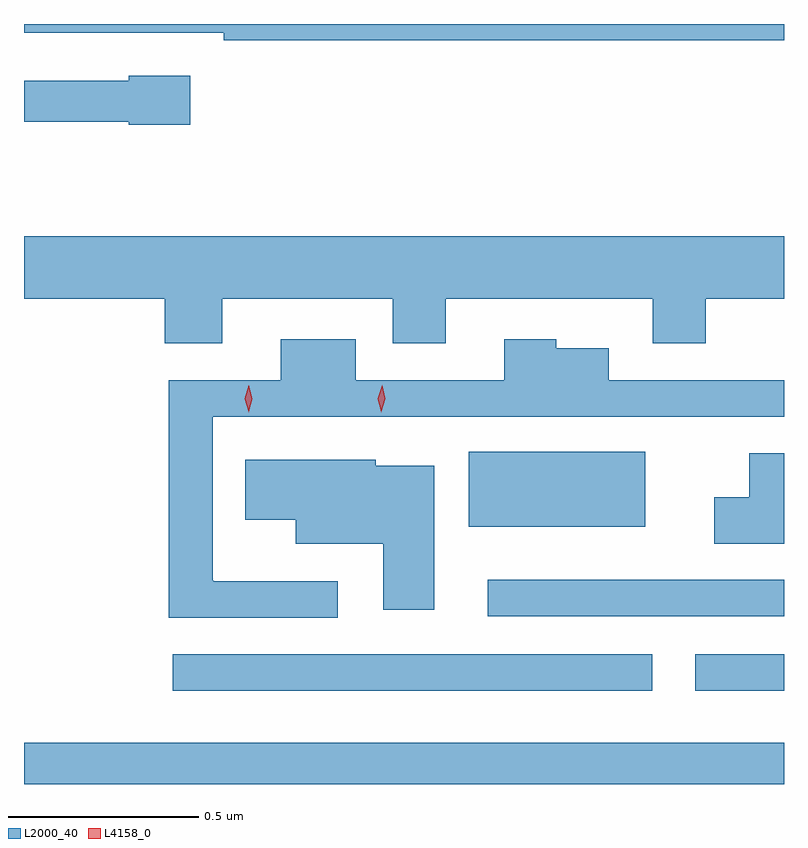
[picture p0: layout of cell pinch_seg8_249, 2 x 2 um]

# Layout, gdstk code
import gdstk
lib = gdstk.Library(unit=1e-6, precision=1e-09)
def R(c, l, rs):  # rectangles x0, y0, x1, y1
    for r in rs: c.add(gdstk.rectangle(r[:2], r[2:], *l))
def P(c, l, *ps):  # polygons
    for p in ps: c.add(gdstk.Polygon(p, *l))
L2000_40 = (2000, 40)
L4158_0 = (4158, 0)

pinch_seg8_249 = lib.new_cell('pinch_seg8_249')
R(pinch_seg8_249, L2000_40, [(832.849,1119.219,834.849,1119.328), (833.241,1119.464,834.502,1119.561), (834.615,1119.464,834.849,1119.561), (834.02,1119.896,834.484,1120.093)])
P(pinch_seg8_249, L2000_40, [(834.849,1121.219),(832.849,1121.219),(832.849,1121.196),(833.374,1121.196),(833.374,1121.176),(834.849,1121.176)],
  [(833.287,1121.083),(833.124,1121.083),(833.124,1121.07),(832.849,1121.07),(832.849,1120.962),(833.124,1120.962),(833.124,1120.954),(833.287,1120.954)],
  [(833.371,1120.496),(833.819,1120.496),(833.819,1120.379),(833.959,1120.379),(833.959,1120.496),(834.503,1120.496),(834.503,1120.379),(834.643,1120.379),(834.643,1120.496),(834.849,1120.496),(834.849,1120.66),(832.849,1120.66),(832.849,1120.496),(833.219,1120.496),(833.219,1120.379),(833.371,1120.379)],
  [(833.674,1119.753),(833.348,1119.753),(833.348,1119.754),(833.346,1119.754),(833.346,1120.185),(834.849,1120.185),(834.849,1120.281),(834.388,1120.281),(834.388,1120.366),(834.249,1120.366),(834.249,1120.39),(834.113,1120.39),(834.113,1120.281),(833.722,1120.281),(833.722,1120.39),(833.525,1120.39),(833.525,1120.281),(833.23,1120.281),(833.23,1119.657),(833.674,1119.657)],
  [(834.849,1120.09),(834.758,1120.09),(834.758,1119.973),(834.666,1119.973),(834.666,1119.851),(834.849,1119.851)],
  [(833.929,1120.057),(833.775,1120.057),(833.775,1120.072),(833.431,1120.072),(833.431,1119.914),(833.564,1119.914),(833.564,1119.851),(833.795,1119.851),(833.795,1119.678),(833.929,1119.678)],
  [(834.849,1119.756),(834.48,1119.756),(834.48,1119.757),(834.069,1119.757),(834.069,1119.66),(834.849,1119.66)])
P(pinch_seg8_249, L4158_0, [(833.789,1120.197),(833.789,1120.198),(833.78,1120.233),(833.792,1120.268),(833.792,1120.268),(833.792,1120.268),(833.8,1120.233),(833.789,1120.198)],
  [(833.44,1120.197),(833.44,1120.198),(833.43,1120.233),(833.44,1120.268),(833.441,1120.269),(833.441,1120.268),(833.45,1120.233),(833.44,1120.198)])

lib.write_gds('pinch_seg8_249.gds')
